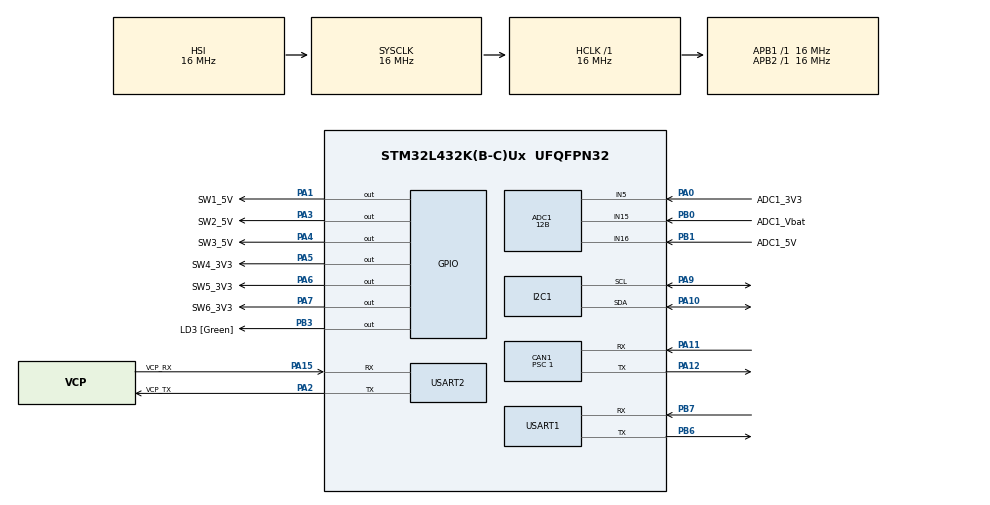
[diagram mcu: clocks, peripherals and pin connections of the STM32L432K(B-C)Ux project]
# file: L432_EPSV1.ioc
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ADC1.Channel-0\#ChannelRegularConversion=ADC_CHANNEL_15
ADC1.ContinuousConvMode=ENABLE
ADC1.NbrOfConversion=1
ADC1.NbrOfConversionFlag=1
ADC1.OffsetNumber-0\#ChannelRegularConversion=ADC_OFFSET_NONE
ADC1.Overrun=ADC_OVR_DATA_OVERWRITTEN
ADC1.Rank-0\#ChannelRegularConversion=1
ADC1.Resolution=ADC_RESOLUTION_12B
ADC1.SamplingTime-0\#ChannelRegularConversion=ADC_SAMPLETIME_24CYCLES_5
ADC1.master=1
CAN1.BS1=CAN_BS1_13TQ
CAN1.BS2=CAN_BS2_2TQ
CAN1.CalculateBaudRate=1000000
CAN1.CalculateTimeBit=1000
CAN1.CalculateTimeQuantum=62.5
CAN1.Prescaler=1
I2C1.Timing=0x00303D5B
Mcu.Family=STM32L4
Mcu.Name=STM32L432K(B-C)Ux
Mcu.Package=UFQFPN32
NVIC.CAN1_RX0_IRQn=true\:0\:0\:false\:false\:true\:true\:true\:true
NVIC.PriorityGroup=NVIC_PRIORITYGROUP_4
NVIC.USART1_IRQn=true\:0\:0\:false\:false\:true\:true\:true\:true
PA0.GPIO_Label=ADC1_3V3
PA0.Signal=ADCx_IN5
PA1.GPIO_Label=SW1_5V
PA1.GPIO_PuPd=GPIO_PULLDOWN
PA1.Signal=GPIO_Output
PA10.Mode=I2C
PA10.Signal=I2C1_SDA
PA11.Mode=CAN_Activate
PA11.Signal=CAN1_RX
PA12.Mode=CAN_Activate
PA12.Signal=CAN1_TX
PA13\ (JTMS-SWDIO).GPIO_Label=SWDIO
PA13\ (JTMS-SWDIO).Mode=Serial_Wire
PA13\ (JTMS-SWDIO).Signal=SYS_JTMS-SWDIO
PA14\ (JTCK-SWCLK).GPIO_Label=SWCLK
PA14\ (JTCK-SWCLK).Mode=Serial_Wire
PA14\ (JTCK-SWCLK).Signal=SYS_JTCK-SWCLK
PA15\ (JTDI).GPIO_Label=VCP_RX
PA15\ (JTDI).Mode=Asynchronous
PA15\ (JTDI).Signal=USART2_RX
PA2.GPIO_Label=VCP_TX
PA2.Mode=Asynchronous
PA2.Signal=USART2_TX
PA3.GPIO_Label=SW2_5V
PA3.GPIO_PuPd=GPIO_PULLDOWN
PA3.Signal=GPIO_Output
PA4.GPIO_Label=SW3_5V
PA4.GPIO_PuPd=GPIO_PULLDOWN
PA4.Signal=GPIO_Output
PA5.GPIO_Label=SW4_3V3
PA5.GPIO_PuPd=GPIO_PULLDOWN
PA5.Signal=GPIO_Output
PA6.GPIO_Label=SW5_3V3
PA6.GPIO_PuPd=GPIO_PULLDOWN
PA6.Signal=GPIO_Output
PA7.GPIO_Label=SW6_3V3
PA7.GPIO_PuPd=GPIO_PULLDOWN
PA7.Signal=GPIO_Output
PA9.Mode=I2C
PA9.Signal=I2C1_SCL
PB0.GPIO_Label=ADC1_Vbat
PB0.Signal=ADCx_IN15
PB1.GPIO_Label=ADC1_5V
PB1.Signal=ADCx_IN16
PB3\ (JTDO-TRACESWO).GPIO_Label=LD3 [Green]
PB3\ (JTDO-TRACESWO).Signal=GPIO_Output
PB6.Mode=Asynchronous
PB6.Signal=USART1_TX
PB7.Mode=Asynchronous
PB7.Signal=USART1_RX
PC14-OSC32_IN\ (PC14).Mode=LSE-External-Oscillator
PC14-OSC32_IN\ (PC14).Signal=RCC_OSC32_IN
PC15-OSC32_OUT\ (PC15).Mode=LSE-External-Oscillator
PC15-OSC32_OUT\ (PC15).Signal=RCC_OSC32_OUT
ProjectManager.HeapSize=0x200
ProjectManager.StackSize=0x400
ProjectManager.TargetToolchain=STM32CubeIDE
RCC.ADCFreq_Value=32000000
RCC.AHBFreq_Value=16000000
RCC.APB1Freq_Value=16000000
RCC.APB1TimFreq_Value=16000000
RCC.APB2Freq_Value=16000000
RCC.APB2TimFreq_Value=16000000
RCC.CortexFreq_Value=16000000
RCC.HCLKFreq_Value=16000000
RCC.HSE_VALUE=8000000
RCC.HSI16_VALUE=16000000
RCC.HSI48_VALUE=48000000
RCC.HSI_VALUE=16000000
RCC.MSI_VALUE=4000000
RCC.PLLMUL=RCC_PLLMUL_4
RCC.PLLN=16
RCC.PLLSAI1N=16
RCC.SYSCLKFreq_VALUE=16000000
RCC.SYSCLKSource=RCC_SYSCLKSOURCE_HSI
RCC.USBFreq_Value=32000000
RCC.VCOOutputFreq_Value=64000000
SH.ADCx_IN15.0=ADC1_IN15,IN15-Single-Ended
SH.ADCx_IN16.0=ADC1_IN16,IN16-Single-Ended
SH.ADCx_IN5.0=ADC1_IN5,IN5-Single-Ended
USART1.VirtualMode-Asynchronous=VM_ASYNC
USART2.VirtualMode-Asynchronous=VM_ASYNC
VP_ADC1_TempSens_Input.Mode=IN-TempSens
board=NUCLEO-L432KC

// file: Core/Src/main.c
/* USER CODE BEGIN Header */
/**
  ******************************************************************************
  * @file           : main.c
  * @brief          : Main program body
  ******************************************************************************
  * @attention
  *
  * Copyright (c) 2022 STMicroelectronics.
  * All rights reserved.
  *
  * This software is licensed under terms that can be found in the LICENSE file
  * in the root directory of this software component.
  * If no LICENSE file comes with this software, it is provided AS-IS.
  *
  ******************************************************************************
  */
/* USER CODE END Header */
#include "main.h"

/* USER CODE BEGIN Includes */
#include <stdio.h>
#include "process.h"

/* USER CODE END Includes */

ADC_HandleTypeDef hadc1;

CAN_HandleTypeDef hcan1;

I2C_HandleTypeDef hi2c1;

UART_HandleTypeDef huart1;
UART_HandleTypeDef huart2;

/* USER CODE BEGIN PV */
switches output;
stmADC adc2;
ADS7828 ads;

CANBUS comm;

// Testing Variables
uint8_t rx_IN[10];
uint8_t tx_OUT[20];

/* USER CODE END PV */

void SystemClock_Config(void);
static void MX_GPIO_Init(void);
static void MX_USART2_UART_Init(void);
static void MX_ADC1_Init(void);
static void MX_CAN1_Init(void);
static void MX_I2C1_Init(void);
static void MX_USART1_UART_Init(void);

/* USER CODE BEGIN 0 */

/*
 * SOLO TESTING ON EPS
 *
void HAL_UART_RxCpltCallback( UART_HandleTypeDef *huart )
{
	HAL_GPIO_TogglePin(LD3_GPIO_Port, LD3_Pin);
	SWITCH_SetSpecific(&output, rx_IN[0], rx_IN[1]);
	HAL_UART_Receive_IT(huart, rx_IN, 2);
}
*/

void HAL_CAN_RxFifo0MsgPendingCallback( CAN_HandleTypeDef *hcan )
{
	HAL_CAN_GetRxMessage(hcan, CAN_RX_FIFO0, &comm.RXHeader, comm.RXdata);
	CAN_Receive( &comm );
}
/* USER CODE END 0 */

int main(void)
{

  /* MCU Configuration--------------------------------------------------------*/

  /* Reset of all peripherals, Initializes the Flash interface and the Systick. */
  HAL_Init();

  /* Configure the system clock */
  SystemClock_Config();

  /* Initialize all configured peripherals */
  MX_GPIO_Init();
  MX_USART2_UART_Init();
  MX_ADC1_Init();
  MX_CAN1_Init();
  MX_I2C1_Init();
  MX_USART1_UART_Init();
  /* USER CODE BEGIN 2 */

//  HAL_UART_Receive_IT(&huart1, rx_IN, 2);

  SWITCH_Initialise( &output );
  ADC_Initialise( &adc2, &hadc1 );
  ADS7828_Initialise( &ads, &hi2c1 );
  CAN_Initialise( &comm, &hcan1, SAT_EPS, 0x0F0, 0, 10 );

  uint32_t time = HAL_GetTick();

  /* USER CODE END 2 */

  /* Infinite loop */
  /* USER CODE BEGIN WHILE */
  while (1)
  {
	  EPS_PROCESS(&comm, &output, &adc2, &ads);

	  if (HAL_GetTick() > time+100)
	  {
//		  EPS_Power_Test( &huart1, &adc2, &ads);
		  EPS_SYS_CURR_SEND(&comm, &ads);
		  HAL_GPIO_TogglePin(LD3_GPIO_Port, LD3_Pin);
		  time = HAL_GetTick();
	  }
    /* USER CODE END WHILE */

  }
}

void SystemClock_Config(void)
{
  RCC_OscInitTypeDef RCC_OscInitStruct = {0};
  RCC_ClkInitTypeDef RCC_ClkInitStruct = {0};

  /** Configure the main internal regulator output voltage
  */
  if (HAL_PWREx_ControlVoltageScaling(PWR_REGULATOR_VOLTAGE_SCALE1) != HAL_OK)
  {
    Error_Handler();
  }

  /** Configure LSE Drive Capability
  */
  HAL_PWR_EnableBkUpAccess();
  __HAL_RCC_LSEDRIVE_CONFIG(RCC_LSEDRIVE_LOW);

  /** Initializes the RCC Oscillators according to the specified parameters
  * in the RCC_OscInitTypeDef structure.
  */
  RCC_OscInitStruct.OscillatorType = RCC_OSCILLATORTYPE_HSI|RCC_OSCILLATORTYPE_LSE
                              |RCC_OSCILLATORTYPE_MSI;
  RCC_OscInitStruct.LSEState = RCC_LSE_ON;
  RCC_OscInitStruct.HSIState = RCC_HSI_ON;
  RCC_OscInitStruct.HSICalibrationValue = RCC_HSICALIBRATION_DEFAULT;
  RCC_OscInitStruct.MSIState = RCC_MSI_ON;
  RCC_OscInitStruct.MSICalibrationValue = 0;
  RCC_OscInitStruct.MSIClockRange = RCC_MSIRANGE_6;
  RCC_OscInitStruct.PLL.PLLState = RCC_PLL_NONE;
  if (HAL_RCC_OscConfig(&RCC_OscInitStruct) != HAL_OK)
  {
    Error_Handler();
  }

  /** Initializes the CPU, AHB and APB buses clocks
  */
  RCC_ClkInitStruct.ClockType = RCC_CLOCKTYPE_HCLK|RCC_CLOCKTYPE_SYSCLK
                              |RCC_CLOCKTYPE_PCLK1|RCC_CLOCKTYPE_PCLK2;
  RCC_ClkInitStruct.SYSCLKSource = RCC_SYSCLKSOURCE_HSI;
  RCC_ClkInitStruct.AHBCLKDivider = RCC_SYSCLK_DIV1;
  RCC_ClkInitStruct.APB1CLKDivider = RCC_HCLK_DIV1;
  RCC_ClkInitStruct.APB2CLKDivider = RCC_HCLK_DIV1;

  if (HAL_RCC_ClockConfig(&RCC_ClkInitStruct, FLASH_LATENCY_0) != HAL_OK)
  {
    Error_Handler();
  }

  /** Enable MSI Auto calibration
  */
  HAL_RCCEx_EnableMSIPLLMode();
}

static void MX_ADC1_Init(void)
{

  ADC_ChannelConfTypeDef sConfig = {0};

  /** Common config
  */
  hadc1.Instance = ADC1;
  hadc1.Init.ClockPrescaler = ADC_CLOCK_ASYNC_DIV1;
  hadc1.Init.Resolution = ADC_RESOLUTION_12B;
  hadc1.Init.DataAlign = ADC_DATAALIGN_RIGHT;
  hadc1.Init.ScanConvMode = ADC_SCAN_DISABLE;
  hadc1.Init.EOCSelection = ADC_EOC_SINGLE_CONV;
  hadc1.Init.LowPowerAutoWait = DISABLE;
  hadc1.Init.ContinuousConvMode = ENABLE;
  hadc1.Init.NbrOfConversion = 1;
  hadc1.Init.DiscontinuousConvMode = DISABLE;
  hadc1.Init.ExternalTrigConv = ADC_SOFTWARE_START;
  hadc1.Init.ExternalTrigConvEdge = ADC_EXTERNALTRIGCONVEDGE_NONE;
  hadc1.Init.DMAContinuousRequests = DISABLE;
  hadc1.Init.Overrun = ADC_OVR_DATA_OVERWRITTEN;
  hadc1.Init.OversamplingMode = DISABLE;
  if (HAL_ADC_Init(&hadc1) != HAL_OK)
  {
    Error_Handler();
  }

  /** Configure Regular Channel
  */
  sConfig.Channel = ADC_CHANNEL_15;
  sConfig.Rank = ADC_REGULAR_RANK_1;
  sConfig.SamplingTime = ADC_SAMPLETIME_24CYCLES_5;
  sConfig.SingleDiff = ADC_SINGLE_ENDED;
  sConfig.OffsetNumber = ADC_OFFSET_NONE;
  sConfig.Offset = 0;
  if (HAL_ADC_ConfigChannel(&hadc1, &sConfig) != HAL_OK)
  {
    Error_Handler();
  }

}

static void MX_CAN1_Init(void)
{

  hcan1.Instance = CAN1;
  hcan1.Init.Prescaler = 1;
  hcan1.Init.Mode = CAN_MODE_NORMAL;
  hcan1.Init.SyncJumpWidth = CAN_SJW_1TQ;
  hcan1.Init.TimeSeg1 = CAN_BS1_13TQ;
  hcan1.Init.TimeSeg2 = CAN_BS2_2TQ;
  hcan1.Init.TimeTriggeredMode = DISABLE;
  hcan1.Init.AutoBusOff = DISABLE;
  hcan1.Init.AutoWakeUp = DISABLE;
  hcan1.Init.AutoRetransmission = DISABLE;
  hcan1.Init.ReceiveFifoLocked = DISABLE;
  hcan1.Init.TransmitFifoPriority = DISABLE;
  if (HAL_CAN_Init(&hcan1) != HAL_OK)
  {
    Error_Handler();
  }

}

static void MX_I2C1_Init(void)
{

  hi2c1.Instance = I2C1;
  hi2c1.Init.Timing = 0x00303D5B;
  hi2c1.Init.OwnAddress1 = 0;
  hi2c1.Init.AddressingMode = I2C_ADDRESSINGMODE_7BIT;
  hi2c1.Init.DualAddressMode = I2C_DUALADDRESS_DISABLE;
  hi2c1.Init.OwnAddress2 = 0;
  hi2c1.Init.OwnAddress2Masks = I2C_OA2_NOMASK;
  hi2c1.Init.GeneralCallMode = I2C_GENERALCALL_DISABLE;
  hi2c1.Init.NoStretchMode = I2C_NOSTRETCH_DISABLE;
  if (HAL_I2C_Init(&hi2c1) != HAL_OK)
  {
    Error_Handler();
  }

  /** Configure Analogue filter
  */
  if (HAL_I2CEx_ConfigAnalogFilter(&hi2c1, I2C_ANALOGFILTER_ENABLE) != HAL_OK)
  {
    Error_Handler();
  }

  /** Configure Digital filter
  */
  if (HAL_I2CEx_ConfigDigitalFilter(&hi2c1, 0) != HAL_OK)
  {
    Error_Handler();
  }

}

static void MX_USART1_UART_Init(void)
{

  huart1.Instance = USART1;
  huart1.Init.BaudRate = 115200;
  huart1.Init.WordLength = UART_WORDLENGTH_8B;
  huart1.Init.StopBits = UART_STOPBITS_1;
  huart1.Init.Parity = UART_PARITY_NONE;
  huart1.Init.Mode = UART_MODE_TX_RX;
  huart1.Init.HwFlowCtl = UART_HWCONTROL_NONE;
  huart1.Init.OverSampling = UART_OVERSAMPLING_16;
  huart1.Init.OneBitSampling = UART_ONE_BIT_SAMPLE_DISABLE;
  huart1.AdvancedInit.AdvFeatureInit = UART_ADVFEATURE_NO_INIT;
  if (HAL_UART_Init(&huart1) != HAL_OK)
  {
    Error_Handler();
  }

}

static void MX_USART2_UART_Init(void)
{

  huart2.Instance = USART2;
  huart2.Init.BaudRate = 115200;
  huart2.Init.WordLength = UART_WORDLENGTH_8B;
  huart2.Init.StopBits = UART_STOPBITS_1;
  huart2.Init.Parity = UART_PARITY_NONE;
  huart2.Init.Mode = UART_MODE_TX_RX;
  huart2.Init.HwFlowCtl = UART_HWCONTROL_NONE;
  huart2.Init.OverSampling = UART_OVERSAMPLING_16;
  huart2.Init.OneBitSampling = UART_ONE_BIT_SAMPLE_DISABLE;
  huart2.AdvancedInit.AdvFeatureInit = UART_ADVFEATURE_NO_INIT;
  if (HAL_UART_Init(&huart2) != HAL_OK)
  {
    Error_Handler();
  }

}

static void MX_GPIO_Init(void)
{
  GPIO_InitTypeDef GPIO_InitStruct = {0};

  /* GPIO Ports Clock Enable */
  __HAL_RCC_GPIOC_CLK_ENABLE();
  __HAL_RCC_GPIOA_CLK_ENABLE();
  __HAL_RCC_GPIOB_CLK_ENABLE();

  /*Configure GPIO pin Output Level */
  HAL_GPIO_WritePin(GPIOA, SW1_5V_Pin|SW2_5V_Pin|SW3_5V_Pin|SW4_3V3_Pin
                          |SW5_3V3_Pin|SW6_3V3_Pin, GPIO_PIN_RESET);

  /*Configure GPIO pin Output Level */
  HAL_GPIO_WritePin(LD3_GPIO_Port, LD3_Pin, GPIO_PIN_RESET);

  /*Configure GPIO pins : SW1_5V_Pin SW2_5V_Pin SW3_5V_Pin SW4_3V3_Pin
                           SW5_3V3_Pin SW6_3V3_Pin */
  GPIO_InitStruct.Pin = SW1_5V_Pin|SW2_5V_Pin|SW3_5V_Pin|SW4_3V3_Pin
                          |SW5_3V3_Pin|SW6_3V3_Pin;
  GPIO_InitStruct.Mode = GPIO_MODE_OUTPUT_PP;
  GPIO_InitStruct.Pull = GPIO_PULLDOWN;
  GPIO_InitStruct.Speed = GPIO_SPEED_FREQ_LOW;
  HAL_GPIO_Init(GPIOA, &GPIO_InitStruct);

  /*Configure GPIO pin : LD3_Pin */
  GPIO_InitStruct.Pin = LD3_Pin;
  GPIO_InitStruct.Mode = GPIO_MODE_OUTPUT_PP;
  GPIO_InitStruct.Pull = GPIO_NOPULL;
  GPIO_InitStruct.Speed = GPIO_SPEED_FREQ_LOW;
  HAL_GPIO_Init(LD3_GPIO_Port, &GPIO_InitStruct);

}

void Error_Handler(void)
{
  __disable_irq();
  while (1)
  {
  }
}
